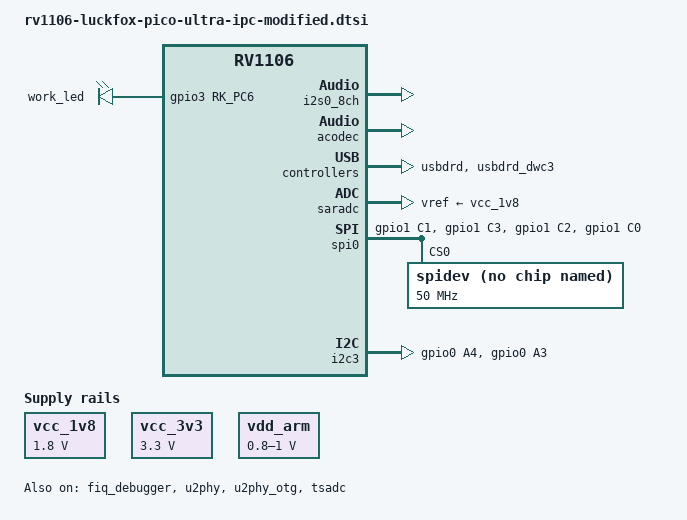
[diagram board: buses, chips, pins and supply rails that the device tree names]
// SPDX-License-Identifier: (GPL-2.0+ OR MIT)
/*
* Copyright (c) 2022 Rockchip Electronics Co., Ltd.
*/

#include "rv1106-evb.dtsi"
#include <dt-bindings/input/input.h>
#include <dt-bindings/display/media-bus-format.h>

/ {
        chosen {
                bootargs = "earlycon=uart8250,mmio32,0xff4c0000 console=ttyFIQ0 root=/dev/mmcblk0p7 rootwait snd_soc_core.prealloc_buffer_size_kbytes=16 coherent_pool=0";
        };

        reserved_memory: reserved-memory {
                status = "okay";
                #address-cells = <1>;
                #size-cells = <1>;
                ranges;
                drm_logo: drm-logo@00000000 {
                        compatible = "rockchip,drm-logo";
                        reg = <0x0 0x0>;
                };
                linux,cma {
                        status = "okay";
                        compatible = "shared-dma-pool";
                        inactive;
                        reusable;
                        size = <0xA00000>; //10M
                        linux,cma-default;
                };
                mmc_ecsd: mmc@3f000 {
                        reg = <0x3f000 0x00001000>;
                };
        };

        acodec_sound: acodec-sound {
                compatible = "simple-audio-card";
                simple-audio-card,name = "rv1106-acodec";
                simple-audio-card,format = "i2s";
                simple-audio-card,mclk-fs = <256>;
                simple-audio-card,cpu {
                        sound-dai = <&i2s0_8ch>;
                };
                simple-audio-card,codec {
                        sound-dai = <&acodec>;
                };
        };

        dsm_sound: dsm-sound {
                status = "disabled";
                compatible = "simple-audio-card";
                simple-audio-card,format = "i2s";
                simple-audio-card,mclk-fs = <256>;
                simple-audio-card,name = "rockchip,dsm-sound";
                simple-audio-card,bitclock-master = <&sndcodec>;
                simple-audio-card,frame-master = <&sndcodec>;
                sndcpu: simple-audio-card,cpu {
                        sound-dai = <&i2s0_8ch>;
                };
                sndcodec: simple-audio-card,codec {
                        sound-dai = <&dsm>;
                };
        };

        vcc_1v8: vcc-1v8 {
                compatible = "regulator-fixed";
                regulator-name = "vcc_1v8";
                regulator-always-on;
                regulator-boot-on;
                regulator-min-microvolt = <1800000>;
                regulator-max-microvolt = <1800000>;
        };

        vcc_3v3: vcc-3v3 {
                compatible = "regulator-fixed";
                regulator-name = "vcc_3v3";
                regulator-always-on;
                regulator-boot-on;
                regulator-min-microvolt = <3300000>;
                regulator-max-microvolt = <3300000>;
        };

        vdd_arm: vdd-arm {
                compatible = "regulator-fixed";
                regulator-name = "vdd_arm";
                regulator-min-microvolt = <800000>;
                regulator-max-microvolt = <1000000>;
                regulator-init-microvolt = <900000>;
                regulator-always-on;
                regulator-boot-on;
        };

        leds: leds {
                compatible = "gpio-leds";
                work_led: work{
                        gpios = <&gpio3 RK_PC6 GPIO_ACTIVE_HIGH>;
                        linux,default-trigger = "activity";
                        default-state = "on";
                };
        };
        clk_mcp2515: clk_mcp2515 {
                        compatible = "fixed-clock";
                        #clock-cells = <0>;
                        clock-frequency = <8000000>;
        };
};

/***************************** audio ********************************/
&i2s0_8ch {
        #sound-dai-cells = <0>;
        status = "okay";
};

&acodec {
        #sound-dai-cells = <0>;
        pa-ctl-gpios = <&gpio0 RK_PA0 GPIO_ACTIVE_HIGH>;
        status = "okay";
};

/************************* FIQ_DUBUGGER ****************************/
&fiq_debugger {
        rockchip,irq-mode-enable = <1>;
        status = "okay";
};

/***************************** USB *********************************/
&u2phy {
        status = "okay";
};

&u2phy_otg {
        status = "okay";
};

&usbdrd {
        status = "okay";
};

&usbdrd_dwc3 {
        extcon = <&u2phy>;
        status = "okay";
};

/***************************** DSM *********************************/
&dsm {
        status = "disabled";
};

&cpu0 {
        cpu-supply = <&vdd_arm>;
};

/*************************** CSI *********************************/


/***************************** ADC ********************************/
&saradc {
        status = "okay";
        vref-supply = <&vcc_1v8>;
};

&tsadc {
        status = "okay";
};

/**************************** LCD/TP ******************************/


/**************************** PINCTRL ******************************/
// SPI
&spi0 {
        pinctrl-0 = <&spi0m0_clk &spi0m0_miso &spi0m0_mosi &spi0m0_cs0>;
        #address-cells = <1>;
        #size-cells = <0>;
        spidev@0 {
                compatible = "rockchip,spidev";
                spi-max-frequency = <50000000>;
                reg = <0>;
        };

};

// I2C
&i2c1 {
        pinctrl-0 = <&i2c1m1_xfer>;
};
&i2c2 {
        pinctrl-0 = <&i2c2m0_xfer>;
};
&i2c3 {
        pinctrl-names = "default", "config";
        pinctrl-0 = <&i2c3m2_xfer &tp_rst &tp_irq>;
        pinctrl-1 = <&i2c3m0_xfer &i2c3m1_xfer>;
};
&i2c4 {
        pinctrl-names = "default", "config";
        pinctrl-0 = <&i2c4m2_xfer>;
        pinctrl-1 = <&i2c4m0_xfer &i2c4m1_xfer>;
};

// UART
&uart0 {
        pinctrl-0 = <&uart0m0_xfer &uart0m1_xfer>;
};
&uart1 {
        pinctrl-0 = <&uart1m1_xfer>;
};
&uart3 {
        pinctrl-0 = <&uart3m0_xfer &uart3m1_xfer>;
};
&uart4 {
        pinctrl-0 = <&uart4m0_xfer &uart4m1_xfer>;
};
&uart5 {
        pinctrl-0 = <&uart5m1_xfer>;
};

// PWM
&pwm0 {
        pinctrl-0 = <&pwm0m1_pins>;
};
&pwm2 {
        pinctrl-0 = <&pwm2m1_pins &pwm2m2_pins>;
};
&pwm3 {
        pinctrl-0 = <&pwm3m1_pins &pwm3m2_pins>;
};
&pwm4 {
        pinctrl-0 = <&pwm4m0_pins &pwm4m1_pins &pwm4m2_pins>;
};
&pwm5 {
        pinctrl-0 = <&pwm5m1_pins &pwm5m2_pins>;
};
&pwm6 {
        pinctrl-0 = <&pwm6m1_pins &pwm6m2_pins>;
};
&pwm7 {
        pinctrl-0 = <&pwm7m0_pins &pwm7m1_pins>;
};
&pwm8 {
        pinctrl-0 = <&pwm8m1_pins>;
};
&pwm9 {
        pinctrl-0 = <&pwm9m1_pins>;
};
&pwm10 {
        pinctrl-0 = <&pwm10m1_pins &pwm10m2_pins>;
};
&pwm11 {
        pinctrl-0 = <&pwm11m1_pins &pwm11m2_pins>;
};

&pinctrl {
        spi0 {
                spi0m0_clk: spi0m0-clk {
                        rockchip,pins = <1 RK_PC1 4 &pcfg_pull_none>;
                };
                spi0m0_mosi: spi0m0-mosi {
                        rockchip,pins = <1 RK_PC2 6 &pcfg_pull_none>;
                };
                spi0m0_miso: spi0m0-miso {
                        rockchip,pins = <1 RK_PC3 6 &pcfg_pull_none>;
                };
                spi0m0_cs0: spi0m0-cs0 {
                        rockchip,pins = <1 RK_PC0 4 &pcfg_pull_none>;
                };
        };

        touchscreen {
                tp_rst: tp-rst {
                        rockchip,pins = <0 RK_PA4 RK_FUNC_GPIO &pcfg_pull_up>;
                };

                tp_irq: tp-irq {
                        rockchip,pins = <0 RK_PA3 RK_FUNC_GPIO &pcfg_pull_none>;
                };
        };
};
